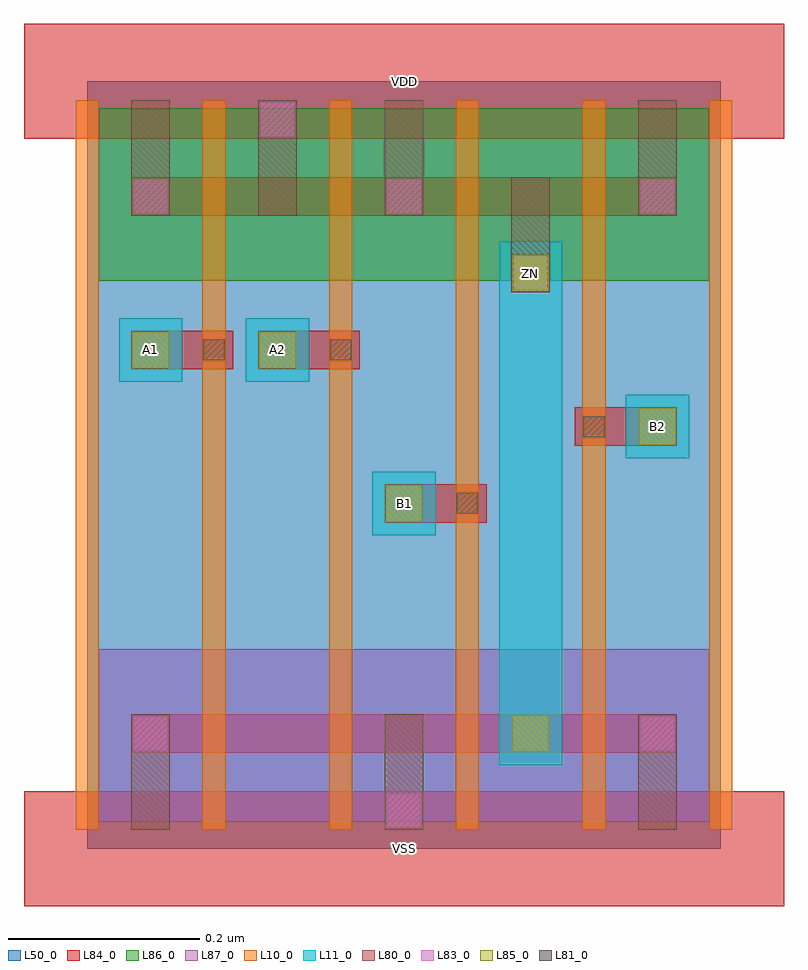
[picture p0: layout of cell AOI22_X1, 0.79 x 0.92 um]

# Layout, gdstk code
import gdstk
lib = gdstk.Library(unit=1e-6, precision=1e-09)
def R(c, l, rs):  # rectangles x0, y0, x1, y1
    for r in rs: c.add(gdstk.rectangle(r[:2], r[2:], *l))
def A(c, l, x, y, w, h, nx, ny, dx, dy):  # array of equal rectangles
    R(c, l, [(x+i*dx, y+j*dy, x+i*dx+w, y+j*dy+h) for i in range(nx) for j in range(ny)])
L10_0 = (10, 0)
L11_0 = (11, 0)
L50_0 = (50, 0)
L80_0 = (80, 0)
L81_0 = (81, 0)
L83_0 = (83, 0)
L84_0 = (84, 0)
L85_0 = (85, 0)
L86_0 = (86, 0)
L87_0 = (87, 0)

aoi22_x1 = lib.new_cell('AOI22_X1')
A(aoi22_x1, L10_0, -0.012, 0.02, 0.024, 0.76, 6, 1, 0.132, 0)
R(aoi22_x1, L11_0, [(0.429,0.087,0.495,0.633), (0.297,0.327,0.363,0.393), (0.561,0.407,0.627,0.473), (0.033,0.487,0.099,0.553), (0.165,0.487,0.231,0.553)])
R(aoi22_x1, L50_0, [(0,0,0.66,0.8)])
A(aoi22_x1, L80_0, 0.046, 0.02, 0.04, 0.12, 3, 1, 0.264, 0)
A(aoi22_x1, L80_0, 0.046, 0.66, 0.04, 0.12, 3, 1, 0.132, 0)
R(aoi22_x1, L80_0, [(0.442,0.58,0.482,0.7), (0.574,0.66,0.614,0.78)])
R(aoi22_x1, L81_0, [(0.385,0.349,0.407,0.371), (0.517,0.429,0.539,0.451), (0.121,0.509,0.143,0.531), (0.253,0.509,0.275,0.531)])
A(aoi22_x1, L83_0, 0.048, 0.662, 0.036, 0.036, 3, 1, 0.264, 0)
R(aoi22_x1, L83_0, [(0.312,0.022,0.348,0.058), (0.048,0.102,0.084,0.138), (0.576,0.102,0.612,0.138), (0.444,0.582,0.48,0.618), (0.18,0.742,0.216,0.778)])
R(aoi22_x1, L84_0, [(-0.066,-0.06,0.726,0.06), (0.046,0.1,0.614,0.14), (0.31,0.34,0.416,0.38), (0.508,0.42,0.614,0.46), (0.046,0.5,0.152,0.54), (0.178,0.5,0.284,0.54), (0.442,0.58,0.482,0.62), (0.046,0.66,0.614,0.7), (-0.066,0.74,0.726,0.86)])
R(aoi22_x1, L85_0, [(0.443,0.101,0.481,0.139), (0.311,0.341,0.349,0.379), (0.575,0.421,0.613,0.459), (0.047,0.501,0.085,0.539), (0.179,0.501,0.217,0.539), (0.443,0.581,0.481,0.619)])
R(aoi22_x1, L86_0, [(0.012,0.592,0.648,0.772)])
R(aoi22_x1, L87_0, [(0.012,0.028,0.648,0.208)])
aoi22_x1.add(gdstk.Label('VDD', (0.33,0.8), layer=88, texttype=0))
aoi22_x1.add(gdstk.Label('VSS', (0.33,0), layer=88, texttype=0))
aoi22_x1.add(gdstk.Label('ZN', (0.462,0.6), layer=31, texttype=0))
aoi22_x1.add(gdstk.Label('A2', (0.198,0.52), layer=31, texttype=0))
aoi22_x1.add(gdstk.Label('B1', (0.33,0.36), layer=31, texttype=0))
aoi22_x1.add(gdstk.Label('A1', (0.066,0.52), layer=31, texttype=0))
aoi22_x1.add(gdstk.Label('B2', (0.594,0.44), layer=31, texttype=0))

lib.write_gds('AOI22_X1.gds')
